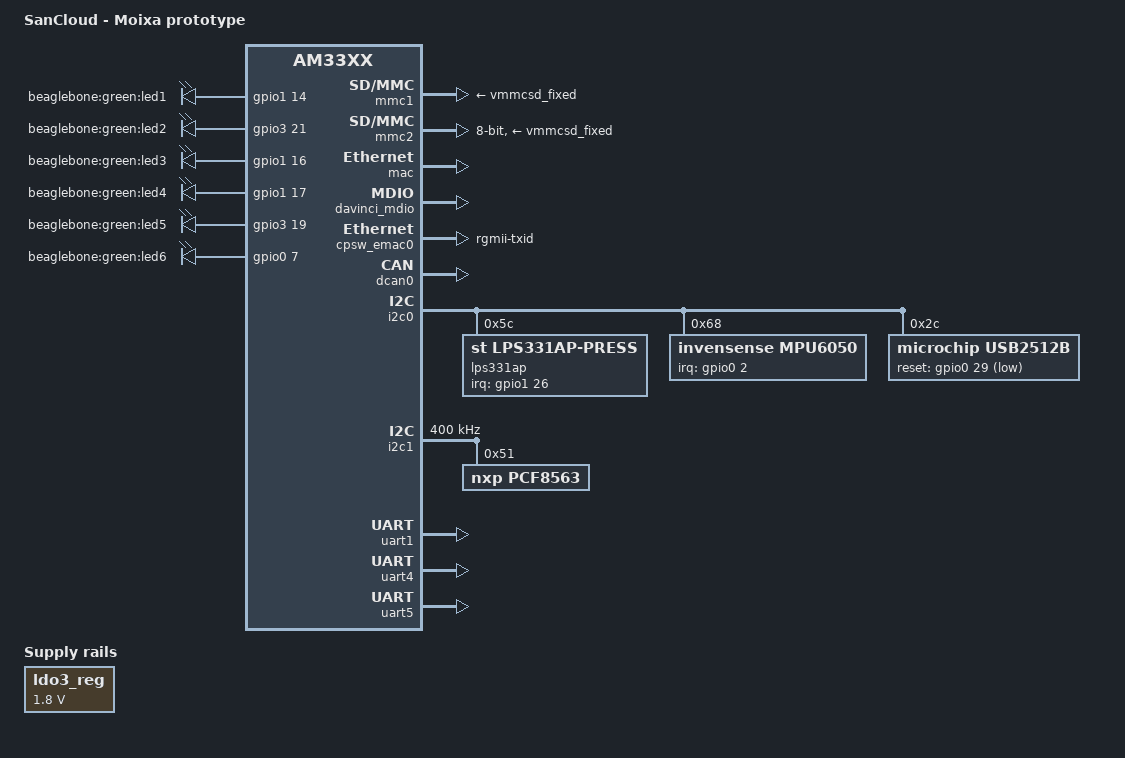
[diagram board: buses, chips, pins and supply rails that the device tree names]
// SPDX-License-Identifier: GPL-2.0
/*
 * Copyright (C) 2012 Texas Instruments Incorporated - http://www.ti.com/
 *
 * This program is free software; you can redistribute it and/or modify
 * it under the terms of the GNU General Public License version 2 as
 * published by the Free Software Foundation.
 */
/dts-v1/;

#include "am33xx.dtsi"
#include "am335x-bone-common.dtsi"
#include <dt-bindings/interrupt-controller/irq.h>


&ldo3_reg {
	regulator-min-microvolt = <1800000>;
	regulator-max-microvolt = <1800000>;
	regulator-always-on;
};

&mmc1 {
	vmmc-supply = <&vmmcsd_fixed>;
};

&mmc2 {
	vmmc-supply = <&vmmcsd_fixed>;
	pinctrl-names = "default";
	pinctrl-0 = <&emmc_pins>;
	bus-width = <8>;
	status = "okay";
};


&rtc {
	system-power-controller;
};


/ {
	model = "SanCloud - Moixa prototype";
	compatible = "sancloud,am335x-boneenhanced", "ti,am335x-bone-black", "ti,am335x-bone", "ti,am33xx";
};

/ {
	icu_leds {
		pinctrl-names = "default", "sleep";
		pinctrl-0 = <&user_leds_s1>;
		pinctrl-1 = <&user_leds_s1_sleep>;
	

		compatible = "gpio-leds";

		icu_led@2 {
			label = "beaglebone:green:led1";
			gpios = <&gpio1 14 GPIO_ACTIVE_HIGH>;
			linux,default-trigger = "mmc0";
			default-state = "off";
		};

		icu_led@3 {
			label = "beaglebone:green:led2";
			gpios = <&gpio3 21 GPIO_ACTIVE_HIGH>;
			linux,default-trigger = "heartbeat";
			default-state = "off";
		};

		
		icu_led@1 {
			label = "beaglebone:green:led3";
			gpios = <&gpio1 16 GPIO_ACTIVE_HIGH>;
			linux,default-trigger = "none";
			default-state = "off";
		};

		icu_led@6 {
			label = "beaglebone:green:led4";
			gpios = <&gpio1 17 GPIO_ACTIVE_HIGH>;
			linux,default-trigger = "none"; 
			default-state = "off";
		};


		icu_led@5 {
			label = "beaglebone:green:led5";
			gpios = <&gpio3 19 GPIO_ACTIVE_HIGH>;
			linux,default-trigger = "none"; //"cpu0";
			default-state = "off";
		};

		icu_led@4 { /*CANNOT USE ON V1*/
			label = "beaglebone:green:led6";
			gpios = <&gpio0 7 GPIO_ACTIVE_HIGH>;
			linux,default-trigger = "none";
			default-state = "off";
		};

	};

};

&am33xx_pinmux {
	pinctrl-names = "default";
	pinctrl-0 = <&usb_hub_ctrl>;

	user_leds_default: user_leds_default {
		pinctrl-single,pins = <
			AM33XX_IOPAD(0x854, PIN_OUTPUT_PULLDOWN | MUX_MODE7)	/* gpmc_a5.gpio1_21 */
			AM33XX_IOPAD(0x858, PIN_OUTPUT_PULLUP | MUX_MODE7)	/* gpmc_a6.gpio1_22 */
			AM33XX_IOPAD(0x85c, PIN_OUTPUT_PULLDOWN | MUX_MODE7)	/* gpmc_a7.gpio1_23 */
			AM33XX_IOPAD(0x860, PIN_OUTPUT_PULLUP | MUX_MODE7)	/* gpmc_a8.gpio1_24 */
		>;
	};

	user_leds_sleep: user_leds_sleep {
		pinctrl-single,pins = <
			AM33XX_IOPAD(0x854, PIN_INPUT_PULLDOWN | MUX_MODE7)	/* gpmc_a5.gpio1_21 */
			AM33XX_IOPAD(0x858, PIN_INPUT_PULLDOWN | MUX_MODE7)	/* gpmc_a6.gpio1_22 */
			AM33XX_IOPAD(0x85c, PIN_INPUT_PULLDOWN | MUX_MODE7)	/* gpmc_a7.gpio1_23 */
			AM33XX_IOPAD(0x860, PIN_INPUT_PULLDOWN | MUX_MODE7)	/* gpmc_a8.gpio1_24 */
		>;
	};
	
	cpsw_default: cpsw_default {
		pinctrl-single,pins = <
			/* Slave 1 */
			AM33XX_IOPAD(0x914, PIN_OUTPUT_PULLDOWN | MUX_MODE2)	/* mii1_txen.rgmii1_tctl */
			AM33XX_IOPAD(0x918, PIN_INPUT_PULLDOWN | MUX_MODE2)	/* mii1_rxdv.rgmii1_rctl */
			AM33XX_IOPAD(0x91c, PIN_OUTPUT_PULLDOWN | MUX_MODE2)	/* mii1_txd3.rgmii1_td3 */
			AM33XX_IOPAD(0x920, PIN_OUTPUT_PULLDOWN | MUX_MODE2)	/* mii1_txd2.rgmii1_td2 */
			AM33XX_IOPAD(0x924, PIN_OUTPUT_PULLDOWN | MUX_MODE2)	/* mii1_txd1.rgmii1_td1 */
			AM33XX_IOPAD(0x928, PIN_OUTPUT_PULLDOWN | MUX_MODE2)	/* mii1_txd0.rgmii1_td0 */
			AM33XX_IOPAD(0x92c, PIN_OUTPUT_PULLDOWN | MUX_MODE2)	/* mii1_txclk.rgmii1_tclk */
			AM33XX_IOPAD(0x930, PIN_INPUT_PULLDOWN | MUX_MODE2)	/* mii1_rxclk.rgmii1_rclk */
			AM33XX_IOPAD(0x934, PIN_INPUT_PULLDOWN | MUX_MODE2)	/* mii1_rxd3.rgmii1_rd3 */
			AM33XX_IOPAD(0x938, PIN_INPUT_PULLDOWN | MUX_MODE2)	/* mii1_rxd2.rgmii1_rd2 */
			AM33XX_IOPAD(0x93c, PIN_INPUT_PULLDOWN | MUX_MODE2)	/* mii1_rxd1.rgmii1_rd1 */
			AM33XX_IOPAD(0x940, PIN_INPUT_PULLDOWN | MUX_MODE2)	/* mii1_rxd0.rgmii1_rd0 */
		>;
	};

	cpsw_sleep: cpsw_sleep {
		pinctrl-single,pins = <
			/* Slave 1 reset value */
			AM33XX_IOPAD(0x914, PIN_INPUT_PULLDOWN | MUX_MODE7)
			AM33XX_IOPAD(0x918, PIN_INPUT_PULLDOWN | MUX_MODE7)
			AM33XX_IOPAD(0x91c, PIN_INPUT_PULLDOWN | MUX_MODE7)
			AM33XX_IOPAD(0x920, PIN_INPUT_PULLDOWN | MUX_MODE7)
			AM33XX_IOPAD(0x924, PIN_INPUT_PULLDOWN | MUX_MODE7)
			AM33XX_IOPAD(0x928, PIN_INPUT_PULLDOWN | MUX_MODE7)
			AM33XX_IOPAD(0x92c, PIN_INPUT_PULLDOWN | MUX_MODE7)
			AM33XX_IOPAD(0x930, PIN_INPUT_PULLDOWN | MUX_MODE7)
			AM33XX_IOPAD(0x934, PIN_INPUT_PULLDOWN | MUX_MODE7)
			AM33XX_IOPAD(0x938, PIN_INPUT_PULLDOWN | MUX_MODE7)
			AM33XX_IOPAD(0x93c, PIN_INPUT_PULLDOWN | MUX_MODE7)
			AM33XX_IOPAD(0x940, PIN_INPUT_PULLDOWN | MUX_MODE7)
		>;
	};

	davinci_mdio_default: davinci_mdio_default {
		pinctrl-single,pins = <
			/* MDIO */
			AM33XX_IOPAD(0x948, PIN_INPUT_PULLUP | SLEWCTRL_FAST | MUX_MODE0)	/* mdio_data.mdio_data */
			AM33XX_IOPAD(0x94c, PIN_OUTPUT_PULLUP | MUX_MODE0)			/* mdio_clk.mdio_clk */
		>;
	};

	davinci_mdio_sleep: davinci_mdio_sleep {
		pinctrl-single,pins = <
			/* MDIO reset value */
			AM33XX_IOPAD(0x948, PIN_INPUT_PULLDOWN | MUX_MODE7)
			AM33XX_IOPAD(0x94c, PIN_INPUT_PULLDOWN | MUX_MODE7)
		>;
	};

	dcan0_pins_s0: dcan0_pins_s0 {
		pinctrl-single,pins = <
			AM33XX_IOPAD(0x97C, 0x32  ) /* d_can0_rx, SLEWCTRL_FAST | RECV_ENABLE | INPUT_PULLUP | MODE2 */
			AM33XX_IOPAD(0x978, 0x12  ) /* d_can0_tx, SLEWCTRL_FAST | OUTPUT_PULLUP | MODE2 */
		>;
	};

	dcan0_pins_s0_sleep: dcan0_pins_s0_sleep {
		pinctrl-single,pins = <
			AM33XX_IOPAD(0x97C, PIN_INPUT_PULLDOWN | MUX_MODE7)  /* d_can0_rx, SLEWCTRL_FAST | RECV_ENABLE | INPUT_PULLUP | MODE7 */
			AM33XX_IOPAD(0x978, PIN_INPUT_PULLDOWN | MUX_MODE7)  /* d_can0_tx, SLEWCTRL_FAST | OUTPUT_PULLUP | MODE7 */
		>;
	};

	user_leds_s1: user_leds_s1 {
		pinctrl-single,pins = <
			AM33XX_IOPAD(0x9a4, PIN_OUTPUT_PULLDOWN | MUX_MODE7)	/* mcasp0_fsr.gpio3_19LED1*/
			AM33XX_IOPAD(0x9ac, PIN_OUTPUT_PULLDOWN | MUX_MODE7)	/* mcasp0_ahclkx.gpio3_21 LED2 */
			AM33XX_IOPAD(0x844, PIN_OUTPUT_PULLDOWN | MUX_MODE7)	/* gpmc_a1.gpio1_17 LED3*/
			AM33XX_IOPAD(0x964, PIN_OUTPUT_PULLDOWN | MUX_MODE7)	/* eCAP0_in_PWM0_out.gpio0_7 LED4*/
			AM33XX_IOPAD(0x840, PIN_OUTPUT_PULLDOWN | MUX_MODE7)	/* gpmc_a0.gpio1_16 LED5*/
			AM33XX_IOPAD(0x838, PIN_OUTPUT_PULLDOWN | MUX_MODE7)	/* uart1_txd.gpio1_14   LED6*/
		>;
	};

	user_leds_s1_sleep: user_leds_s1_sleep {
		pinctrl-single,pins = <
			AM33XX_IOPAD(0x9a4, PIN_INPUT_PULLDOWN | MUX_MODE7)	/* mcasp0_fsr.gpio3_19LED1*/
			AM33XX_IOPAD(0x9ac, PIN_INPUT_PULLDOWN | MUX_MODE7)	/* mcasp0_ahclkx.gpio3_21 LED2 */
			AM33XX_IOPAD(0x844, PIN_INPUT_PULLDOWN | MUX_MODE7)	/* gpmc_a1.gpio1_17 LED3*/
			AM33XX_IOPAD(0x964, PIN_INPUT_PULLDOWN | MUX_MODE7)	/* eCAP0_in_PWM0_out.gpio0_7 LED4*/
			AM33XX_IOPAD(0x840, PIN_INPUT_PULLDOWN | MUX_MODE7)	/* gpmc_a0.gpio1_16 LED5*/
			AM33XX_IOPAD(0x838, PIN_INPUT_PULLDOWN | MUX_MODE7)	/* uart1_txd.gpio1_14   LED6*/
		>;
	};

	usb_hub_ctrl: usb_hub_ctrl {
		pinctrl-single,pins = <
			AM33XX_IOPAD(0x944, PIN_OUTPUT_PULLUP | MUX_MODE7)     /* rmii1_refclk.gpio0_29 */
		>;
	};
		
	mpu6050_pins: pinmux_mpu6050_pins {
		pinctrl-single,pins = <
			AM33XX_IOPAD(0x968, PIN_INPUT | MUX_MODE7)    /* uart0_ctsn.gpio1_8 */
		>;
	};

	lps3331ap_pins: pinmux_lps3331ap_pins {
		pinctrl-single,pins = <
			AM33XX_IOPAD(0x868, PIN_INPUT | MUX_MODE7)     /* gpmc_a10.gpio1_26 */
		>;
	};

	i2c1_pins: pinmux_i2c1_pins {
		pinctrl-single,pins = <
			AM33XX_IOPAD(0x958, PIN_INPUT_PULLUP | MUX_MODE2)	/* i2c1_sca */
			AM33XX_IOPAD(0x95C, PIN_INPUT_PULLUP | MUX_MODE2)	/* i2c1_scl */
		>;
	};

  /* Used for Ghetto platform */
	uart1_pins: uart1_pins_default {
		pinctrl-single,pins = <
			AM33XX_IOPAD(0x984, PIN_OUTPUT | MUX_MODE0) /* (D15) uart1_tx.uart1_txd */
			AM33XX_IOPAD(0x980, PIN_INPUT | MUX_MODE0)  /* (D16) uart1_rx.uart1_rxd */
			AM33XX_IOPAD(0x89C, PIN_OUTPUT_PULLUP | MUX_MODE7) /* (T6) gpmc_ben0_cle.gpio2[5] RTS */
		>;
	};


	uart2_pins: uart2_pins_default {
		pinctrl-single,pins = <
			AM33XX_IOPAD(0x950, PIN_INPUT | MUX_MODE1) /* (A17) spi0_sclk.uart2_rxd */
			AM33XX_IOPAD(0x954, PIN_OUTPUT | MUX_MODE1) /* (B17) spi0_d0.uart2_txd */
			AM33XX_IOPAD(0x834, PIN_OUTPUT | MUX_MODE7) /* (R12) gpmc_ad13.gpio1[13] RTS */
		>;
	};

	uart4_pins_ghetto: uart4_pins_ghetto_default {
		pinctrl-single,pins = <
			AM33XX_IOPAD(0x870, PIN_INPUT | MUX_MODE6) /* (T17) gpmc_wait0.uart4_rxd */
			AM33XX_IOPAD(0x874, PIN_OUTPUT | MUX_MODE6) /* (U17) gpmc_wpn.uart4_txd */
			AM33XX_IOPAD(0x834, PIN_OUTPUT_PULLUP | MUX_MODE7) /* (R12) gpmc_ad13.gpio1[13] RTS */
		>;
	};


	uart4_pins: uart4_pins_default {
		pinctrl-single,pins = <
			AM33XX_IOPAD(0x870, PIN_INPUT | MUX_MODE6) /* (T17) gpmc_wait0.uart4_rxd */
			AM33XX_IOPAD(0x874, PIN_OUTPUT | MUX_MODE6) /* (U17) gpmc_wpn.uart4_txd */
			AM33XX_IOPAD(0x830, PIN_OUTPUT_PULLUP | MUX_MODE7) /* (T12) gpmc_ad12.gpio1[12] RTS */
		>;
	};


	uart5_pins: uart5_pins_default {
		pinctrl-single,pins = <
			AM33XX_IOPAD(0x8c4, PIN_INPUT | MUX_MODE4) /* (U2) lcd_data9.uart5_rxd */
			AM33XX_IOPAD(0x8c0, PIN_OUTPUT | MUX_MODE4) /* (U1) lcd_data8.uart5_txd */
			AM33XX_IOPAD(0x8d8, PIN_INPUT | MUX_MODE6) /* (V4) lcd_data14.uart5_ctsn */
			AM33XX_IOPAD(0x8dc, PIN_OUTPUT | MUX_MODE6) /* (T5) lcd_data15.uart5_rtsn */
		>;
	};  
};

&mac {
	pinctrl-names = "default", "sleep";
	pinctrl-0 = <&cpsw_default>;
	pinctrl-1 = <&cpsw_sleep>;
	status = "okay";
};

&davinci_mdio {
	pinctrl-names = "default", "sleep";
	pinctrl-0 = <&davinci_mdio_default>;
	pinctrl-1 = <&davinci_mdio_sleep>;
	status = "okay";
};

&cpsw_emac0 {
	phy_id = <&davinci_mdio>, <0>;
	phy-mode = "rgmii-txid";
};


&dcan0 {
	#address-cells = <1>;
	#size-cells = <0>;
    pinctrl-names = "default", "sleep"; /* Apply default pinmuxing */
    pinctrl-0 = <&dcan0_pins_s0>;
    pinctrl-1 = <&dcan0_pins_s0_sleep>;
	status = "okay";  /* Switch on DCAN0 */
};

&i2c0 {
	pinctrl-names = "default";
	pinctrl-0 = <&mpu6050_pins &lps3331ap_pins>;
	
	lps331ap: barometer@5c {
		compatible = "st,lps331ap-press";
		st,drdy-int-pin = <1>;
		reg = <0x5c>;
		interrupt-parent = <&gpio1>;
		interrupts = <26 IRQ_TYPE_EDGE_RISING>;
	};

	mpu6050: accelerometer@68 {
		compatible = "invensense,mpu6050";
		reg = <0x68>;
		interrupt-parent = <&gpio0>;
		interrupts = <2 IRQ_TYPE_EDGE_RISING>;
		orientation = <0xff 0 0 0 1 0 0 0 0xff>;
	};

	usb2512b: usb-hub@2c {
		compatible = "microchip,usb2512b";
		reg = <0x2c>;
		reset-gpios = <&gpio0 29 GPIO_ACTIVE_LOW>;
		/* wifi on port 4 */
	};
};

&i2c1 {

	pinctrl-names = "default";
	pinctrl-0 = <&i2c1_pins>;
	status = "okay";
	clock-frequency = <400000>;

	pcf8563: pcf8563@51 {
		device_type = "rtc";
		compatible = "nxp,pcf8563";
		reg = <0x51>;
	};
};

&wkup_m3_ipc {
	ti,scale-data-fw = "am335x-bone-scale-data.bin";
};


/* Prevent i2c2 working as we need it for DCAN0 interface */

&i2c2 {
	pinctrl-0 = "";
	status = "disabled";
};


&uart1 {
    pinctrl-names = "default";
    pinctrl-0 = <&uart1_pins>;
    status = "okay";
    rts-gpio = <&gpio2 5 GPIO_ACTIVE_HIGH>;
    rs485-rts-active-high;
    rs485-rts-delay = <0 0>;
    linux,rs485-enabled-at-boot-time;
};


&uart4 {
    pinctrl-names = "default";
    pinctrl-0 = <&uart4_pins_ghetto>;
    status = "okay";
    rts-gpio = <&gpio1 13 GPIO_ACTIVE_HIGH>;
    rs485-rts-active-high;
    rs485-rts-delay = <0 0>;
    linux,rs485-enabled-at-boot-time;
};


&uart5 {
  pinctrl-names = "default";
  pinctrl-0 = <&uart5_pins>;
  status = "okay";
  uart-has-rtscts;
};
